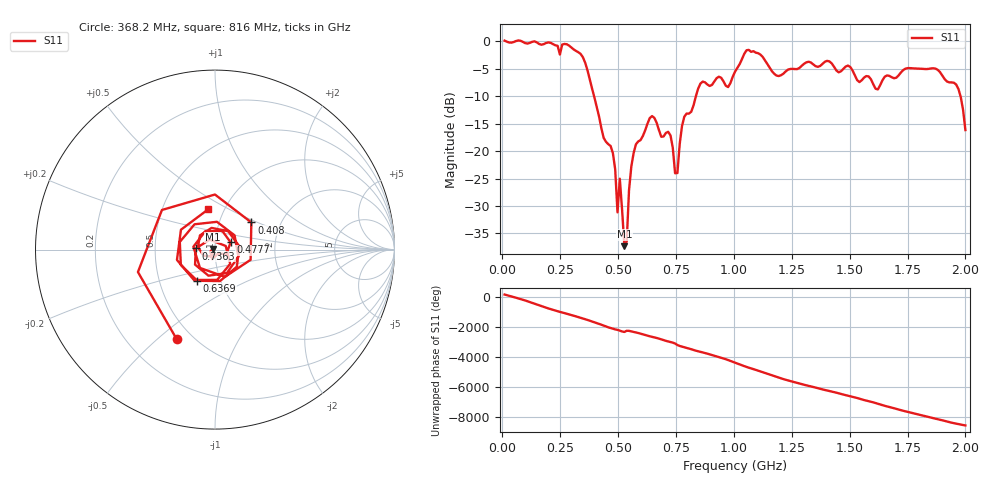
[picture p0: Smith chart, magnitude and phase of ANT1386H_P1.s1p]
!Created with skrf (http://scikit-rf.org).
# Hz S RI R 50.0
!freq ReS11 ImS11
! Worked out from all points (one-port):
!   201 points, 10 MHz to 2 GHz, reference 50 ohm
!   lowest |S11| = -37.3 dB at 527.4 MHz (marker M1), VSWR 1.03, Z = 48.7 + j0.292 ohm
!   |S11| at or under -10 dB: 396.4 MHz to 836.1 MHz (439.6 MHz wide, 71.3 % of centre); 1.979 GHz to end of sweep
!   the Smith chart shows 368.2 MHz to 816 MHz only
!   S11 on the Smith chart (normalised r, x): 368.2 MHz: 0.41, -0.58; 408 MHz: 1.42, +0.46; 477.6 MHz: 1.19, +0.10; 636.9 MHz: 0.78, -0.28; 736.4 MHz: 0.81, +0.01; 816 MHz: 0.84, +0.40
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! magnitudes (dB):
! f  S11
! 10 MHz  0.1
! 258.8 MHz  -0.6
! 368.2 MHz  -5.3
! 408 MHz  -11.9
! 477.6 MHz  -20.4
! 487.6 MHz  -23.3
! 497.6 MHz  -31.2
! 507.5 MHz  -25.0
! 527.4 MHz  -37.3
! 537.4 MHz  -36.5
! 547.3 MHz  -27.1
! 567.2 MHz  -20.4
! 636.9 MHz  -14.0
! 736.4 MHz  -19.4
! 756.2 MHz  -24.0
! 776.1 MHz  -15.4
! 816 MHz  -12.8
! 855.8 MHz  -7.7
! 975.1 MHz  -8.3
! 1.005 GHz  -5.5
! 1.065 GHz  -1.5
! 1.184 GHz  -6.2
! 1.254 GHz  -5.0
! 1.502 GHz  -4.6
! 1.622 GHz  -8.8
! 1.751 GHz  -4.9
! 1.96 GHz  -7.9
! 2 GHz  -16.2
